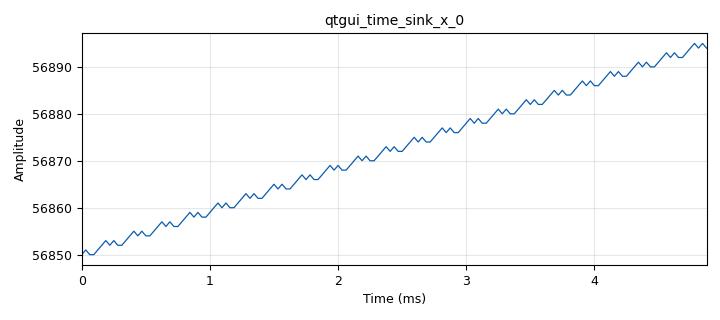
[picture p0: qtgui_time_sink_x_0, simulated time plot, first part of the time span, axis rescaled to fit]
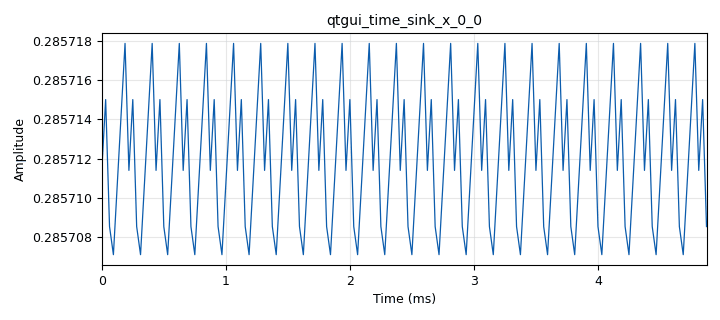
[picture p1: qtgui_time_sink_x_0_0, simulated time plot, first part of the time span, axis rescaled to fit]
options:
  parameters:
    author: Maria_Guerrero
    generate_options: qt_gui
    id: PRACTICA2_ACUMULADOR
    output_language: python
    title: PRACTICA2_ACUMULADOR
  states: {}

blocks:
- name: samp_rate
  id: variable
  parameters:
    value: '32000'
  states: {}
- name: blocks_vector_source_x_0
  id: blocks_vector_source_x
  parameters:
    repeat: 'True'
    type: float
    vector: '[1,-1,1,-1,0,1,1]'
  states: {}
- name: epy_block_0
  id: epy_block
  parameters:
    _source_code: |-
      import numpy as np
      from gnuradio import gr

      class blk(gr.sync_block):

          def __init__(self):
              gr.sync_block.__init__(
                  self,
                  name='e_Acum',        # Nombre en GRC
                  in_sig=[np.float32],
                  out_sig=[np.float32]
              )
              
              self.acc = 0.0  # Variable de estado (memoria del acumulador)

          def work(self, input_items, output_items):
              x = input_items[0]
              y = output_items[0]

              # Acumulador continuo
              for i in range(len(x)):
                  self.acc += x[i]
                  y[i] = self.acc

              return len(y)
  states: {}
- name: epy_block_0_0
  id: epy_block
  parameters:
    _source_code: |-
      import numpy as np
      from gnuradio import gr

      class blk(gr.sync_block):

          def __init__(self):
              gr.sync_block.__init__(
                  self,
                  name='media_acumulativa',
                  in_sig=[np.float32],
                  out_sig=[np.float32]
              )

              self.suma = 0.0
              self.contador = 0

          def work(self, input_items, output_items):
              x = input_items[0]
              y = output_items[0]

              for i in range(len(x)):
                  self.suma += x[i]
                  self.contador += 1
                  y[i] = self.suma / self.contador

              return len(y)
  states: {}
- name: qtgui_number_sink_0
  id: qtgui_number_sink
  parameters:
    graph_type: qtgui.NUM_GRAPH_HORIZ
    type: float
  states: {}
- name: qtgui_time_sink_x_0
  id: qtgui_time_sink_x
  parameters:
    size: '1024'
    srate: samp_rate
    type: float
  states: {}
- name: qtgui_time_sink_x_0_0
  id: qtgui_time_sink_x
  parameters:
    size: '1024'
    srate: samp_rate
    type: float
  states: {}

connections:
- [blocks_vector_source_x_0, '0', epy_block_0, '0']
- [blocks_vector_source_x_0, '0', epy_block_0_0, '0']
- [epy_block_0, '0', qtgui_time_sink_x_0, '0']
- [epy_block_0_0, '0', qtgui_number_sink_0, '0']
- [epy_block_0_0, '0', qtgui_time_sink_x_0_0, '0']

metadata:
  file_format: 1
  grc_version: 3.10.12.0
